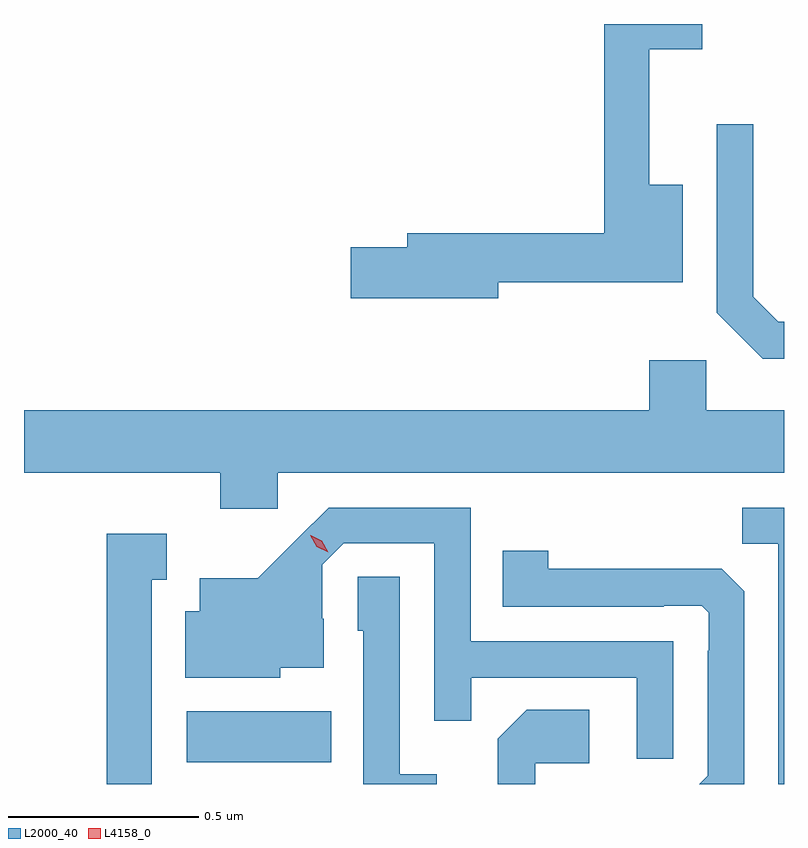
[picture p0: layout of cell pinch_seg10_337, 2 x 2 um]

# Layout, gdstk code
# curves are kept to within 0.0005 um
import gdstk
lib = gdstk.Library(unit=1e-6, precision=1e-09)
def R(c, l, rs):  # rectangles x0, y0, x1, y1
    for r in rs: c.add(gdstk.rectangle(r[:2], r[2:], *l))
def P(c, l, *ps):  # polygons
    for p in ps: c.add(gdstk.Polygon(p, *l))
L2000_40 = (2000, 40)
L4158_0 = (4158, 0)

pinch_seg10_337 = lib.new_cell('pinch_seg10_337')
R(pinch_seg10_337, L2000_40, [(417.984,1280.906,418.364,1281.04)])
P(pinch_seg10_337, L2000_40, [(418.804,1282.17),(419.29,1282.17),(419.29,1282.426),(419.201,1282.426),(419.201,1282.782),(419.341,1282.782),(419.341,1282.849),(419.083,1282.849),(419.083,1282.298),(418.565,1282.298),(418.565,1282.262),(418.416,1282.262),(418.416,1282.127),(418.804,1282.127)],
  [(419.556,1282.065),(419.541,1282.065),(419.475,1282.131),(419.475,1282.585),(419.379,1282.585),(419.379,1282.089),(419.5,1281.968),(419.556,1281.968)],
  [(418.224,1281.668),(419.556,1281.668),(419.556,1281.832),(419.352,1281.832),(419.352,1281.964),(419.201,1281.964),(419.201,1281.832),(417.556,1281.832),(417.556,1281.668),(418.073,1281.668),(418.073,1281.573),(418.224,1281.573)],
  [(419.265,1281.225),(418.731,1281.225),(418.731,1281.576),(418.358,1281.576),(418.171,1281.391),(418.019,1281.391),(418.019,1281.304),(417.98,1281.304),(417.98,1281.128),(418.23,1281.128),(418.23,1281.155),(418.345,1281.155),(418.345,1281.284),(418.341,1281.284),(418.341,1281.426),(418.398,1281.483),(418.635,1281.483),(418.635,1281.016),(418.733,1281.016),(418.733,1281.129),(419.169,1281.129),(419.169,1280.916),(419.265,1280.916)],
  [(419.556,1281.576),(419.446,1281.576),(419.446,1281.481),(419.541,1281.481),(419.541,1280.849),(419.556,1280.849)],
  [(417.892,1281.387),(417.931,1281.387),(417.931,1281.508),(417.774,1281.508),(417.774,1280.849),(417.892,1280.849)],
  [(419.451,1281.356),(419.392,1281.415),(419.291,1281.415),(419.291,1281.416),(418.935,1281.416),(418.935,1281.463),(418.816,1281.463),(418.816,1281.315),(419.24,1281.315),(419.24,1281.318),(419.34,1281.318),(419.358,1281.3),(419.358,1281.2),(419.355,1281.2),(419.355,1280.871),(419.333,1280.849),(419.451,1280.849)],
  [(418.642,1280.875),(418.545,1280.875),(418.545,1281.395),(418.434,1281.395),(418.434,1281.252),(418.449,1281.252),(418.449,1280.849),(418.642,1280.849)],
  [(418.902,1280.904),(419.044,1280.904),(419.044,1281.044),(418.879,1281.044),(418.803,1280.968),(418.803,1280.849),(418.902,1280.849)])
P(pinch_seg10_337, L4158_0, [(418.357,1281.459),(418.326,1281.474),(418.309,1281.504),(418.309,1281.504),(418.31,1281.504),(418.34,1281.489),(418.357,1281.459),(418.357,1281.459)])

lib.write_gds('pinch_seg10_337.gds')
